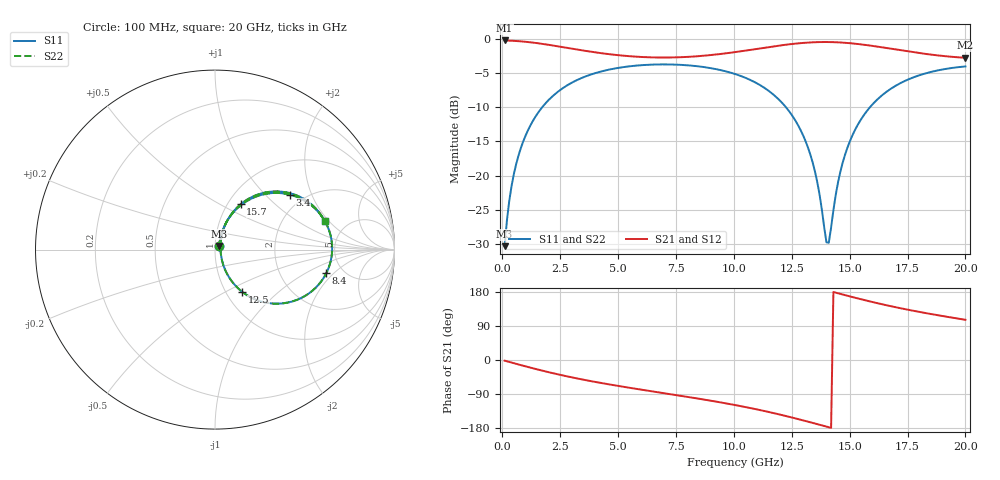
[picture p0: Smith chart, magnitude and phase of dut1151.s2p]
! Touchstone file exported from HFSS 2026.1.0
!  File:  C:/ffzhzh/LocalFiles/Ansys_Project_Files/temp_train_TSV_RDL_1151_1783310690_38704.aedt
!  Generated:  12:18:28 PM Jul  6, 2026
!  Design:  TSV_RDL
!  Project:  temp_train_TSV_RDL_1151_1783310690_38704
! Variables:
!  h_bsmrdl = 5.69um
!  h_ox = 20um
!  h_rdl = 5um
!  h_sub = 53.65um
!  h_tmrdl = 4.91um
!  h_tsv = 53.65um
!  h_via = 3um
!  l_bsmrdl = 450.43um
!  l_sub = 4513.61um
!  l_tmrdl = 661.51um
!  m_sub = 200um
!  pitch = 56.82um
!  r_tsv = 2.74um
!  s_tmrdl = 10um
!  w_bsmrdl = 23.99um
!  w_sub = 500um
!  w_tmrdl = 14.77um
!  x_tsv_center1 = 668.895um
!  x_tsv_center2 = 1143.315um
!  x_tsv_center3 = 1819.595um
!  x_tsv_center4 = 2294.015um
!  x_tsv_center5 = 2970.295um
!  x_tsv_center6 = 3444.715um
# GHz S MA R 50.000000
! Terminal data exported
! Port[1] = TM_RDL1_1_T1
! Port[2] = TM_RDL5_1_T1
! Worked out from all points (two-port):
!   200 points, 100 MHz to 20 GHz, reference 50 ohm
!   highest |S21| = -0.20 dB at 100 MHz (marker M1); lowest = -2.7 dB at 20 GHz (marker M2)
!   |S21| within 3 dB of the highest: start of sweep to end of sweep
!   lowest |S11| = -30.3 dB at 100 MHz (marker M3), VSWR 1.06, Z = 52.3 + j2.1 ohm
!   |S11| at or under -10 dB: start of sweep to 1.72 GHz; 12.25 GHz to 15.87 GHz (3.621 GHz wide, 25.7 % of centre)
!   |S22| runs from -30.3 to -3.7 dB; largest |S21 - S12| = 1.7e-14
!   S11 on the Smith chart (normalised r, x): 100 MHz: 1.05, +0.04; 3.4 GHz: 1.68, +1.41; 8.4 GHz: 3.69, -1.63; 12.5 GHz: 1.19, -0.60; 15.7 GHz: 1.15, +0.63; 20 GHz: 3.40, +1.79
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0.1  0.03041 41.2  0.9775 -1.7  0.9775 -1.7  0.03041 41.2
! Gamma 0 0 0 0
! Port Impedance 50 0 50 0
0.3  0.06518 63.9  0.9748 -5.1  0.9748 -5.1  0.06518 63.9
0.5  0.1027 68.0  0.971 -8.5  0.971 -8.5  0.1027 68.0
1.1  0.2132 64.9  0.9524 -18.3  0.9524 -18.3  0.2132 64.9
2  0.3578 53.7  0.9082 -32.2  0.9082 -32.2  0.3578 53.7
3.4  0.5167 36.4  0.8298 -50.7  0.8298 -50.7  0.5167 36.4
3.5  0.5251 35.2  0.8246 -51.9  0.8246 -51.9  0.5251 35.2
5.1  0.6189 18.5  0.7597 -69.4  0.7597 -69.4  0.6189 18.5
6.8  0.6525 2.6  0.733 -85.9  0.733 -85.9  0.6525 2.6
8.4  0.6336 -12.1  0.7484 -101.3  0.7484 -101.3  0.6335 -12.1
10.1  0.5517 -29.2  0.8052 -119.4  0.8052 -119.4  0.5516 -29.2
11.5  0.4183 -45.3  0.8736 -137.1  0.8736 -137.1  0.4183 -45.3
12.5  0.2784 -57.3  0.9205 -151.6  0.9205 -151.6  0.2783 -57.3
13.4  0.1255 -63.3  0.9474 -165.9  0.9474 -165.9  0.1254 -63.4
13.7  0.07296 -57.3  0.9512 -170.8  0.9512 -170.8  0.07283 -57.4
14  0.03243 -14.7  0.9521 -175.7  0.9521 -175.7  0.0322 -14.7
14.1  0.03222 17.6  0.9517 -177.4  0.9517 -177.4  0.03202 17.8
14.4  0.07218 61.1  0.9486 177.7  0.9486 177.7  0.07213 61.3
14.7  0.1243 67.3  0.9425 172.8  0.9425 172.8  0.1243 67.4
15.7  0.2904 60.4  0.9057 157.2  0.9057 157.2  0.2904 60.5
16.7  0.4237 48.6  0.8548 143.0  0.8548 143.0  0.4237 48.7
20  0.6305 14.6  0.7298 106.1  0.7298 106.1  0.6305 14.6
